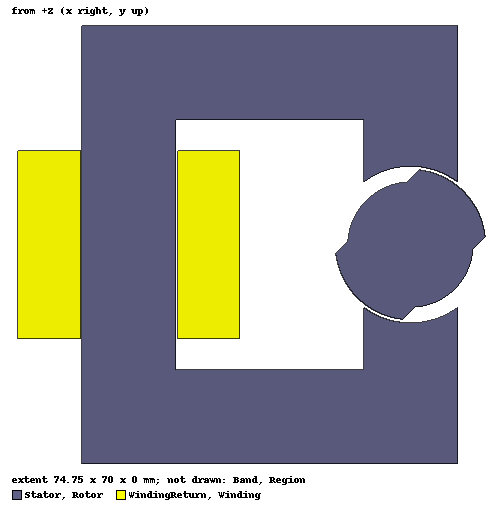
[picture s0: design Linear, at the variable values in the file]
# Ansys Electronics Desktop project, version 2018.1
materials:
  vacuum: permittivity=1
  copper: permeability=0.999991 conductivity=58000000
  Taconic CER-10 (tm): permittivity=10 dielectric_loss_tangent=0.0035
  steel_1010_Linear: permittivity=1 permeability=902.6 conductivity=2000000 lande_g_factor=2

design Linear (Maxwell 2D, Transient, XY geometry, model units mm)
options: ComputeTransientInductance ModelDepth=20mm Multiplier=1
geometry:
  Circle1 = circle(normal=Z, centre=(0mm, 0mm, 0mm), radius=12mm)
  Rotor [steel_1010_Linear] = circle(normal=Z, centre=(0mm, 0mm, 0mm), radius=10mm)
  Rectangle1 = rectangle(corner=(-7.5mm, -16mm, 0mm), x_size=15mm, y_size=32mm)
  Circle1.intersect(Rectangle1)
  Rotor.unite(Circle1)
  Rotor.rotate(axis=Z, angle=-45deg)
  Stator [steel_1010_Linear] = polyline(z=0mm, xy in mm: (-7.5, -2) (-7.5, -20) (-37.5, -20) (-37.5, 20) (-7.5, 20) (-7.5, 2) (7.5, 2) (7.5, 35) (-52.5, 35) (-52.5, -35) (7.5, -35) (7.5, -2) (-7.5, -2), closed, covered)
  Circle2 = circle(normal=Z, centre=(0mm, 0mm, 0mm), radius=12.5mm)
  Stator.subtract(Circle2)
  WindingReturn [copper] = rectangle(corner=(-37.25mm, -15mm, 0mm), x_size=10mm, y_size=30mm)
  Winding [copper] = rectangle(corner=(-62.75mm, -15mm, 0mm), x_size=10mm, y_size=30mm)
  Band [vacuum] = circle(normal=Z, centre=(0mm, 0mm, 0mm), radius=12.25mm)
  Region [vacuum] = region(percentage_offset: +X=100, -X=100, +Y=100, -Y=100, +Z=0, -Z=0)
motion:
  MotionSetup1: Band Move_Type=Rotate Coordinate_System=Global Axis=Z Is_Positive=true InitPos=0deg Angular_Velocity=0rpm Moment_of_Inertia=1.8672297e-07 Damping=0 Load_Torque=0NewtonMeter Objects=Band
  Moving1: Moving Objects=Rotor
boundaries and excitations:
  ZeroVectorPot: Vector Potential Edges=Region.edge(all 4) Value=0
  Coil: Coil Objects=Winding Conductor_number=250 Winding=Winding PolarityType=Positive
  Coil_Ret: Coil Objects=WindingReturn Conductor_number=250 Winding=Winding PolarityType=Positive
  Winding: Winding Group Type=Current IsSolid=false Current=3A ParallelBranchesNum=1
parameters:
  Torque: Torque Coordinate_System=Global Is_Positive=true Objects=Rotor
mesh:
  Length1: LengthBased RefineInside disabled Objects=[Rotor, Stator, WindingReturn, Winding] MaxLength=2mm
  initial mesh: MeshMethod=AnsoftTAU
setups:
  Setup1: Transient NonlinearSolverResidual=0.0001 SmoothBHCurve StopTime=18.6ms TimeStep=0.05ms SweepSetupType=LinearStep StartValue=0ns StopValue=18.6ms StepSize=0.05ms ExpressionCache{CacheItem{Title=Moving1_LoadTorque1 Expression=Moving1.LoadTorque TraceID=590 ReportType=3}} UsingNumSolveSteps=1 ConstantDelta=0.002s NumberSolveSteps=1 InitialTimeStep=0.002s MinTimeStep=0.001s MaxTimeStep=0.003s TimeStepErrTolerance=0.0001
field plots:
  Flux_Lines1: A over Rotor, Stator, WindingReturn, Winding on Setup1 : Transient at Time=-1
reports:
  Position Plot 1: Moving1.Position-45deg vs Time on Setup1 : Transient; markers m1 at 0ns, m2 at 18600000ns
  Torque Plot 1: Moving1.Torque vs Time on Setup1 : Transient; markers m1 at 0ns, m2 at 18700000ns
  Winding Plot 1: L(Winding,Winding) vs Time on Setup1 : Transient; markers m1 at 0ns, m2 at 9300000ns
